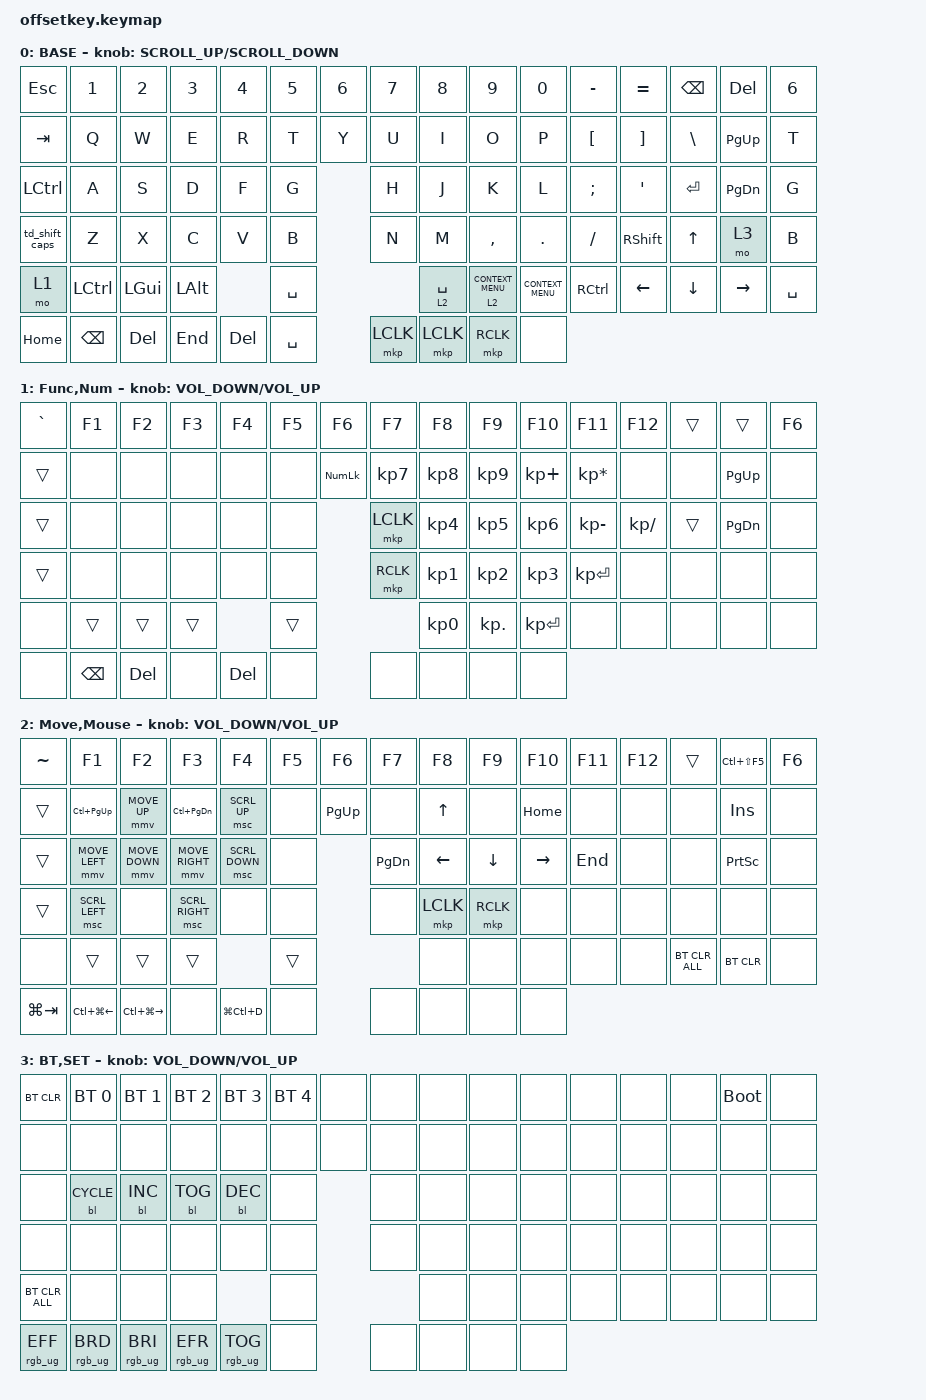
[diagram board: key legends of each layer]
#define BASE 0
#define LOWER 1
#define MOUSE_KEYS 2
#define MOUSE_TP 3
#define MOUSE_TP_SET 4

#include <zephyr/dt-bindings/input/input-event-codes.h>
#include <behaviors/toggle_io.dtsi>
#include <behaviors/on_io.dtsi>
#include <behaviors/off_io.dtsi>
#include <input/processors.dtsi>
#include <behaviors.dtsi>
#include <dt-bindings/zmk/backlight.h>
#include <dt-bindings/zmk/bt.h>
#include <dt-bindings/zmk/keys.h>
#include <dt-bindings/zmk/pointing.h>
#include <dt-bindings/zmk/rgb.h>

#define ZMK_POINTING_DEFAULT_MOVE_VAL 1200  // 600
#define ZMK_POINTING_DEFAULT_SCRL_VAL 20

&mmv_input_listener { input-processors = <&zip_xy_scaler 2 1>; };

&msc_input_listener { input-processors = <&zip_scroll_scaler 2 1>; };

&msc {
    acceleration-exponent = <1>;      // 0
    time-to-max-speed-ms = <100>;       // 300
    delay-ms = <0>;                   // 0
};

&mmv {
    time-to-max-speed-ms = <500>;
    acceleration-exponent = <1>;
    trigger-period-ms = <16>;
};

/ {
    scroll_encoder: scroll_encoder {
        compatible = "zmk,behavior-sensor-rotate";
        #sensor-binding-cells = <0>;
        bindings = <&msc SCRL_DOWN>, <&msc SCRL_UP>;

        tap-ms = <100>;
    };

    behaviors {
        hold_tap: hold_tap {
            compatible = "zmk,behavior-hold-tap";
            label = "HOLD_TAP";
            bindings = <&mo>, <&kp>;

            #binding-cells = <2>;
            tapping-term-ms = <200>;
            quick-tap-ms = <180>;
        };

        td_shift_caps: td_shift_caps {
            compatible = "zmk,behavior-tap-dance";
            label = "TD_SHIFT_CAPS";
            #binding-cells = <0>;
            bindings = <&kp LEFT_SHIFT>, <&kp CAPSLOCK>;
        };
    };

    combos {
        compatible = "zmk,combos";

        flash {
            bindings = <&bootloader>;
            key-positions = <0 11>;
        };
    };

    keymap {
        compatible = "zmk,keymap";

        BASE {
            bindings = <
&kp ESC         &kp N1         &kp N2        &kp N3        &kp N4      &kp N5     &kp N6      &kp N7     &kp N8             &kp N9                      &kp N0              &kp MINUS  &kp EQUAL        &kp BSPC      &kp DELETE             &kp NUMBER_6
&kp TAB         &kp Q          &kp W         &kp E         &kp R       &kp T                  &kp Y      &kp U              &kp I                       &kp O               &kp P      &kp LBKT         &kp RBKT      &kp BSLH    &kp PG_UP  &kp T
&kp LCTRL       &kp A          &kp S         &kp D         &kp F       &kp G                  &kp H      &kp J              &kp K                       &kp L               &kp SEMI   &kp APOS         &kp ENTER     &kp PG_DN              &kp G
&td_shift_caps  &kp Z          &kp X         &kp C         &kp V       &kp B                  &kp N      &kp M              &kp COMMA                   &kp DOT             &kp FSLH   &kp RIGHT_SHIFT  &kp UP_ARROW  &mo 3                  &kp B
&mo 1           &kp LCTRL      &kp LEFT_GUI  &kp LEFT_ALT              &kp SPACE                         &hold_tap 2 SPACE  &hold_tap 2 K_CONTEXT_MENU  &kp K_CONTEXT_MENU  &kp RCTRL  &kp LEFT         &kp DOWN      &kp RIGHT              &kp SPACE
&kp HOME        &kp BACKSPACE  &kp DELETE    &kp END       &kp DELETE  &kp SPACE              &mkp LCLK  &mkp LCLK          &mkp RCLK                   &none
            >;

            label = "BASE";
            sensor-bindings = <&inc_dec_kp K_SCROLL_UP K_SCROLL_DOWN>;
        };

        Func,Num {
            bindings = <
&kp GRAVE  &kp F1         &kp F2      &kp F3  &kp F4   &kp F5  &kp F6      &kp F7          &kp F8           &kp F9           &kp F10          &kp F11       &kp F12          &trans  &trans                      &kp F6
&trans     &none          &none       &none   &none    &none               &kp KP_NUMLOCK  &kp KP_NUMBER_7  &kp KP_NUMBER_8  &kp KP_NUMBER_9  &kp KP_PLUS   &kp KP_MULTIPLY  &none   &none          &kp PAGE_UP  &none
&trans     &none          &none       &none   &none    &none               &mkp LCLK       &kp KP_NUMBER_4  &kp KP_NUMBER_5  &kp KP_NUMBER_6  &kp KP_MINUS  &kp KP_DIVIDE    &trans  &kp PAGE_DOWN               &none
&trans     &none          &none       &none   &none    &none               &mkp RCLK       &kp KP_NUMBER_1  &kp KP_NUMBER_2  &kp KP_NUMBER_3  &kp KP_ENTER  &none            &none   &none                       &none
&none      &trans         &trans      &trans           &trans                              &kp KP_NUMBER_0  &kp KP_DOT       &kp KP_ENTER     &none         &none            &none   &none                       &none
&none      &kp BACKSPACE  &kp DELETE  &none   &kp DEL  &none               &none           &none            &none            &none
            >;

            label = "Func,Num";
            sensor-bindings = <&inc_dec_kp C_VOLUME_DOWN C_VOLUME_UP>;
        };

        Move,Mouse {
            bindings = <
&kp TILDE    &kp F1                  &kp F2                   &kp F3             &kp F4          &kp F5  &kp F6      &kp F7         &kp F8     &kp F9     &kp F10    &kp F11   &kp F12  &trans          &kp LC(LS(F5))            &kp F6
&trans       &kp LC(PG_UP)           &mmv MOVE_UP             &kp LC(PAGE_DOWN)  &msc SCRL_UP    &none               &kp PAGE_UP    &none      &kp UP     &none      &kp HOME  &none    &none           &none            &kp INS  &none
&trans       &mmv MOVE_LEFT          &mmv MOVE_DOWN           &mmv MOVE_RIGHT    &msc SCRL_DOWN  &none               &kp PAGE_DOWN  &kp LEFT   &kp DOWN   &kp RIGHT  &kp END   &none    &none           &kp PRINTSCREEN           &none
&trans       &msc SCRL_LEFT          &none                    &msc SCRL_RIGHT    &none           &none               &none          &mkp LCLK  &mkp RCLK  &none      &none     &none    &none           &none                     &none
&none        &trans                  &trans                   &trans                             &trans                             &none      &none      &none      &none     &none    &bt BT_CLR_ALL  &bt BT_CLR                &none
&kp LG(TAB)  &kp LC(LG(LEFT_ARROW))  &kp LC(LG(RIGHT_ARROW))  &none              &kp LG(LC(D))   &none               &none          &none      &none      &none
            >;

            label = "Move,Mouse";
            sensor-bindings = <&inc_dec_kp C_VOLUME_DOWN C_VOLUME_UP>;
        };

        BT,SET {
            bindings = <
&bt BT_CLR       &bt BT_SEL 0     &bt BT_SEL 1     &bt BT_SEL 2     &bt BT_SEL 3     &bt BT_SEL 4  &none      &none  &none  &none  &none  &none  &none  &none  &bootloader         &none
&none            &none            &none            &none            &none            &none                    &none  &none  &none  &none  &none  &none  &none  &none        &none  &none
&none            &bl BL_CYCLE     &bl BL_INC       &bl BL_TOG       &bl BL_DEC       &none                    &none  &none  &none  &none  &none  &none  &none  &none               &none
&none            &none            &none            &none            &none            &none                    &none  &none  &none  &none  &none  &none  &none  &none               &none
&bt BT_CLR_ALL   &none            &none            &none                             &none                           &none  &none  &none  &none  &none  &none  &none               &none
&rgb_ug RGB_EFF  &rgb_ug RGB_BRD  &rgb_ug RGB_BRI  &rgb_ug RGB_EFR  &rgb_ug RGB_TOG  &none                    &none  &none  &none  &none
            >;

            label = "BT,SET";
            sensor-bindings = <&inc_dec_kp C_VOLUME_DOWN C_VOLUME_UP>;
        };
    };
};
